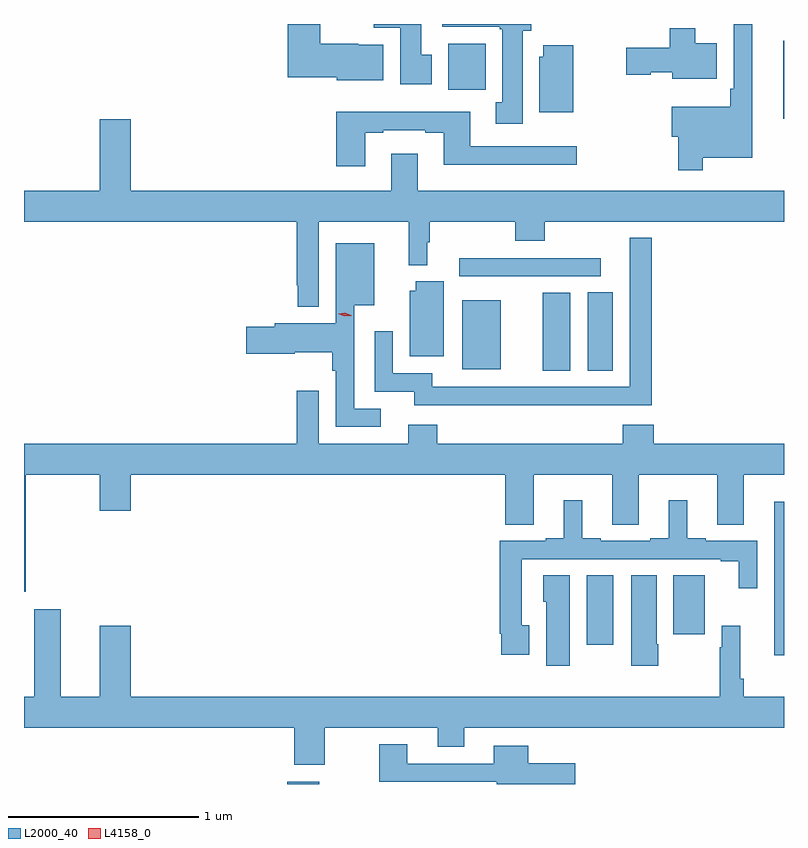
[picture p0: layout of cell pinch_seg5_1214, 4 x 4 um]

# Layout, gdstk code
import gdstk
lib = gdstk.Library(unit=1e-6, precision=1e-09)
def R(c, l, rs):  # rectangles x0, y0, x1, y1
    for r in rs: c.add(gdstk.rectangle(r[:2], r[2:], *l))
def P(c, l, *ps):  # polygons
    for p in ps: c.add(gdstk.Polygon(p, *l))
L2000_40 = (2000, 40)
L4158_0 = (4158, 0)

pinch_seg5_1214 = lib.new_cell('pinch_seg5_1214')
R(pinch_seg5_1214, L2000_40, [(477.683,895.093,477.85,895.105), (479.258,895.827,479.398,896.192), (479.714,895.881,479.881,896.192), (479.027,897.268,479.173,897.679), (479.264,897.268,479.395,897.68), (478.604,897.275,478.807,897.64), (478.587,897.765,479.332,897.861), (480.293,898.595,480.297,899.005), (478.529,898.748,478.726,898.99)])
P(pinch_seg5_1214, L2000_40, [(478.444,898.932),(478.387,898.932),(478.387,899.093),(478.138,899.093),(478.138,899.072),(478.277,899.072),(478.277,898.776),(478.444,898.776)],
  [(479.869,898.388),(480.13,898.388),(480.13,899.093),(480.033,899.093),(480.033,898.753),(480.013,898.753),(480.013,898.657),(479.706,898.657),(479.706,898.499),(479.74,898.499),(479.74,898.323),(479.869,898.323)],
  [(478.921,899.058),(478.966,899.058),(478.966,899.093),(478.497,899.093),(478.497,899.078),(478.801,899.078),(478.801,899.065),(478.814,899.065),(478.814,898.682),(478.781,898.682),(478.781,898.569),(478.921,898.569)],
  [(478.189,898.984),(478.056,898.984),(478.056,898.99),(477.856,898.99),(477.856,899.093),(477.686,899.093),(477.686,898.814),(477.942,898.814),(477.942,898.796),(478.189,898.796)],
  [(479.944,898.993),(479.83,898.993),(479.83,899.071),(479.696,899.071),(479.696,898.968),(479.466,898.968),(479.466,898.826),(479.595,898.826),(479.595,898.838),(479.708,898.838),(479.708,898.805),(479.944,898.805)],
  [(479.188,898.981),(479.03,898.981),(479.03,898.92),(479.009,898.92),(479.009,898.628),(479.188,898.628)],
  [(478.093,898.521),(478.189,898.521),(478.189,898.533),(478.409,898.533),(478.409,898.521),(478.505,898.521),(478.505,898.352),(479.206,898.352),(479.206,898.449),(478.645,898.449),(478.645,898.63),(477.941,898.63),(477.941,898.344),(478.093,898.344)],
  [(477.849,898.052),(478.322,898.052),(478.322,897.823),(478.42,897.823),(478.42,897.944),(478.432,897.944),(478.432,898.052),(478.882,898.052),(478.882,897.953),(479.037,897.953),(479.037,898.052),(480.297,898.052),(480.297,898.216),(478.369,898.216),(478.369,898.411),(478.229,898.411),(478.229,898.216),(476.86,898.216),(476.86,898.591),(476.696,898.591),(476.696,898.216),(476.297,898.216),(476.297,898.052),(477.733,898.052),(477.733,897.718),(477.737,897.718),(477.737,897.606),(477.849,897.606)],
  [(479.6,897.967),(479.484,897.967),(479.484,897.183),(478.446,897.183),(478.446,897.255),(478.239,897.255),(478.239,897.475),(478.143,897.475),(478.143,897.158),(478.35,897.158),(478.35,897.086),(479.6,897.086)],
  [(478.174,897.069),(478.035,897.069),(478.035,897.614),(478.141,897.614),(478.141,897.94),(477.938,897.94),(477.938,897.517),(477.617,897.517),(477.617,897.5),(477.468,897.5),(477.468,897.358),(477.721,897.358),(477.721,897.365),(477.919,897.365),(477.919,897.269),(477.939,897.269),(477.939,896.973),(478.174,896.973)],
  [(478.507,897.738),(478.358,897.738),(478.358,897.688),(478.328,897.688),(478.328,897.344),(478.507,897.344)],
  [(476.305,896.72),(476.696,896.72),(476.696,896.532),(476.86,896.532),(476.86,896.72),(478.829,896.72),(478.829,896.458),(478.981,896.458),(478.981,896.72),(479.393,896.72),(479.393,896.458),(479.533,896.458),(479.533,896.72),(479.945,896.72),(479.945,896.458),(480.085,896.458),(480.085,896.72),(480.297,896.72),(480.297,896.884),(479.612,896.884),(479.612,896.983),(479.447,896.983),(479.447,896.884),(478.472,896.884),(478.472,896.983),(478.319,896.983),(478.319,896.884),(477.849,896.884),(477.849,897.163),(477.733,897.163),(477.733,896.884),(476.297,896.884),(476.297,896.106),(476.305,896.106)],
  [(478.957,895.929),(478.917,895.929),(478.917,896.277),(479.963,896.277),(479.963,896.265),(480.059,896.265),(480.059,896.124),(480.156,896.124),(480.156,896.373),(479.884,896.373),(479.884,896.386),(479.788,896.386),(479.788,896.587),(479.69,896.587),(479.69,896.386),(479.594,896.386),(479.594,896.373),(479.332,896.373),(479.332,896.386),(479.236,896.386),(479.236,896.587),(479.138,896.587),(479.138,896.386),(479.042,896.386),(479.042,896.373),(478.801,896.373),(478.801,895.885),(478.809,895.885),(478.809,895.773),(478.957,895.773)],
  [(480.297,896.578),(480.245,896.578),(480.245,896.37),(480.246,896.37),(480.246,896.072),(480.245,896.072),(480.245,895.77),(480.297,895.77)],
  [(479.634,895.828),(479.626,895.828),(479.626,896.192),(479.492,896.192),(479.492,895.716),(479.634,895.716)],
  [(479.17,896.192),(479.03,896.192),(479.03,896.052),(479.045,896.052),(479.045,895.716),(479.17,895.716)],
  [(476.351,896.014),(476.351,895.552),(476.297,895.552),(476.297,895.388),(477.719,895.388),(477.719,895.194),(477.879,895.194),(477.879,895.388),(478.475,895.388),(478.475,895.289),(478.615,895.289),(478.615,895.388),(480.297,895.388),(480.297,895.552),(480.086,895.552),(480.086,895.648),(480.068,895.648),(480.068,895.927),(479.97,895.927),(479.97,895.814),(479.958,895.814),(479.958,895.552),(476.86,895.552),(476.86,895.927),(476.696,895.927),(476.696,895.552),(476.491,895.552),(476.491,896.014)],
  [(479.197,895.201),(478.951,895.201),(478.951,895.294),(478.769,895.294),(478.769,895.2),(478.315,895.2),(478.315,895.303),(478.168,895.303),(478.168,895.104),(478.784,895.104),(478.784,895.093),(479.197,895.093)])
P(pinch_seg5_1214, L4158_0, [(477.983,897.554),(477.95,897.569),(477.949,897.569),(477.95,897.569),(477.986,897.574),(478.02,897.559),(478.02,897.558),(478.02,897.558)])

lib.write_gds('pinch_seg5_1214.gds')
